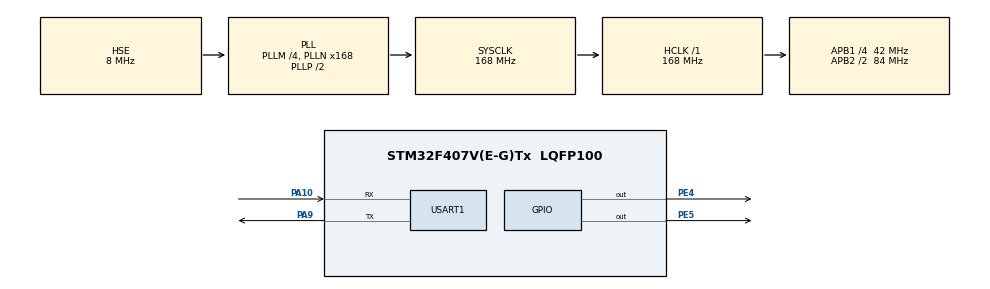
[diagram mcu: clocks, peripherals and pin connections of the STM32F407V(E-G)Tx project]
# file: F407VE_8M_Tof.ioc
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Mcu.Family=STM32F4
Mcu.Name=STM32F407V(E-G)Tx
Mcu.Package=LQFP100
NVIC.PriorityGroup=NVIC_PRIORITYGROUP_4
NVIC.USART1_IRQn=true\:0\:0\:false\:false\:true\:true\:true
PA10.Mode=Asynchronous
PA10.Signal=USART1_RX
PA13.Mode=Serial_Wire
PA13.Signal=SYS_JTMS-SWDIO
PA14.Mode=Serial_Wire
PA14.Signal=SYS_JTCK-SWCLK
PA9.Mode=Asynchronous
PA9.Signal=USART1_TX
PC14-OSC32_IN.Mode=LSE-External-Oscillator
PC14-OSC32_IN.Signal=RCC_OSC32_IN
PC15-OSC32_OUT.Mode=LSE-External-Oscillator
PC15-OSC32_OUT.Signal=RCC_OSC32_OUT
PE4.GPIO_ModeDefaultOutputPP=GPIO_MODE_OUTPUT_PP
PE4.GPIO_PuPd=GPIO_PULLUP
PE4.GPIO_Speed=GPIO_SPEED_FREQ_VERY_HIGH
PE4.PinState=GPIO_PIN_SET
PE4.Signal=GPIO_Output
PE5.GPIO_ModeDefaultOutputPP=GPIO_MODE_OUTPUT_PP
PE5.GPIO_PuPd=GPIO_PULLUP
PE5.GPIO_Speed=GPIO_SPEED_FREQ_VERY_HIGH
PE5.PinState=GPIO_PIN_SET
PE5.Signal=GPIO_Output
PH0-OSC_IN.Mode=HSE-External-Oscillator
PH0-OSC_IN.Signal=RCC_OSC_IN
PH1-OSC_OUT.Mode=HSE-External-Oscillator
PH1-OSC_OUT.Signal=RCC_OSC_OUT
ProjectManager.HeapSize=0x200
ProjectManager.StackSize=0x400
ProjectManager.TargetToolchain=MDK-ARM V5.27
RCC.48MHZClocksFreq_Value=84000000
RCC.AHBFreq_Value=168000000
RCC.APB1CLKDivider=RCC_HCLK_DIV4
RCC.APB1Freq_Value=42000000
RCC.APB1TimFreq_Value=84000000
RCC.APB2CLKDivider=RCC_HCLK_DIV2
RCC.APB2Freq_Value=84000000
RCC.APB2TimFreq_Value=168000000
RCC.CortexFreq_Value=168000000
RCC.HCLKFreq_Value=168000000
RCC.HSE_VALUE=8000000
RCC.HSI_VALUE=16000000
RCC.PLLM=4
RCC.PLLN=168
RCC.PLLSourceVirtual=RCC_PLLSOURCE_HSE
RCC.SYSCLKFreq_VALUE=168000000
RCC.SYSCLKSource=RCC_SYSCLKSOURCE_PLLCLK
RCC.VCOOutputFreq_Value=336000000
USART1.VirtualMode=VM_ASYNC
board=custom

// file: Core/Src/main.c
/* USER CODE BEGIN Header */
/**
  ******************************************************************************
  * @file           : main.c
  * @brief          : Main program body
  ******************************************************************************
  * @attention
  *
  * <h2><center>&copy; Copyright (c) 2021 STMicroelectronics.
  * All rights reserved.</center></h2>
  *
  * This software component is licensed by ST under BSD 3-Clause license,
  * the "License"; You may not use this file except in compliance with the
  * License. You may obtain a copy of the License at:
  *                        opensource.org/licenses/BSD-3-Clause
  *
  ******************************************************************************
  */
/* USER CODE END Header */
#include "main.h"
#include "usart.h"
#include "gpio.h"

/* USER CODE BEGIN Includes */
#include "DELAY/delay.h"
#include "OLED/oled.h"
#include "VL53L0X/myvl53l0x.h"
#include "VL6180X/myvl6180x.h"
#include "VL53L1X/myvl53l1x.h"
#include "VL53L1X/API/VL53L1X_api.h"
/* USER CODE END Includes */

void SystemClock_Config(void);

int main(void)
{

  /* MCU Configuration--------------------------------------------------------*/

  /* Reset of all peripherals, Initializes the Flash interface and the Systick. */
  HAL_Init();

  /* Configure the system clock */
  SystemClock_Config();

  /* Initialize all configured peripherals */
  MX_GPIO_Init();
  MX_USART1_UART_Init();
  /* USER CODE BEGIN 2 */
  Delay_Init(168);
  OLED_Init(GPIOB, 8, GPIOB, 9);
  MyVL53L0X_Init(MYVL53L0X_DEFAULT_ADDR, GPIOB, 6, GPIOB, 7);
  MyVL53L0X_SetSenseMode(VL53L0X_SENSE_DEFAULT);
  MyVL6180X_Init(MYVL6180X_DEFAULT_ADDR, GPIOB, 3, GPIOB, 5);
  MyVL53L1X_Init(MYVL53L1X_DEFAULT_ADDR, GPIOD, 6, GPIOD, 7);
  Delay_ms(100);
  /* USER CODE END 2 */

  /* Infinite loop */
  while (1)
  {

    /* USER CODE BEGIN 3 */
    OLED_ShowInt(0, 0, MyVL53L0X_GetDistance());
    OLED_ShowStr(OLED_cursorX, OLED_cursorY, "     ");
    OLED_ShowInt(0, 1, MyVL6180X_GetDistance());
    OLED_ShowStr(OLED_cursorX, OLED_cursorY, "     ");
    OLED_ShowInt(0, 2, MyVL6180X_GetLux());
    OLED_ShowStr(OLED_cursorX, OLED_cursorY, "     ");
    OLED_ShowInt(0, 3, MyVL53L1X_GetDistance());
    OLED_ShowStr(OLED_cursorX, OLED_cursorY, "     ");
  }
  /* USER CODE END 3 */
}

void SystemClock_Config(void)
{
  RCC_OscInitTypeDef RCC_OscInitStruct = {0};
  RCC_ClkInitTypeDef RCC_ClkInitStruct = {0};

  /** Configure the main internal regulator output voltage
  */
  __HAL_RCC_PWR_CLK_ENABLE();
  __HAL_PWR_VOLTAGESCALING_CONFIG(PWR_REGULATOR_VOLTAGE_SCALE1);
  /** Initializes the RCC Oscillators according to the specified parameters
  * in the RCC_OscInitTypeDef structure.
  */
  RCC_OscInitStruct.OscillatorType = RCC_OSCILLATORTYPE_HSE;
  RCC_OscInitStruct.HSEState = RCC_HSE_ON;
  RCC_OscInitStruct.PLL.PLLState = RCC_PLL_ON;
  RCC_OscInitStruct.PLL.PLLSource = RCC_PLLSOURCE_HSE;
  RCC_OscInitStruct.PLL.PLLM = 4;
  RCC_OscInitStruct.PLL.PLLN = 168;
  RCC_OscInitStruct.PLL.PLLP = RCC_PLLP_DIV2;
  RCC_OscInitStruct.PLL.PLLQ = 4;
  if (HAL_RCC_OscConfig(&RCC_OscInitStruct) != HAL_OK)
  {
    Error_Handler();
  }
  /** Initializes the CPU, AHB and APB buses clocks
  */
  RCC_ClkInitStruct.ClockType = RCC_CLOCKTYPE_HCLK|RCC_CLOCKTYPE_SYSCLK
                              |RCC_CLOCKTYPE_PCLK1|RCC_CLOCKTYPE_PCLK2;
  RCC_ClkInitStruct.SYSCLKSource = RCC_SYSCLKSOURCE_PLLCLK;
  RCC_ClkInitStruct.AHBCLKDivider = RCC_SYSCLK_DIV1;
  RCC_ClkInitStruct.APB1CLKDivider = RCC_HCLK_DIV4;
  RCC_ClkInitStruct.APB2CLKDivider = RCC_HCLK_DIV2;

  if (HAL_RCC_ClockConfig(&RCC_ClkInitStruct, FLASH_LATENCY_5) != HAL_OK)
  {
    Error_Handler();
  }
}

void Error_Handler(void)
{
  __disable_irq();
  while (1)
  {
  }
}

/************************ (C) COPYRIGHT STMicroelectronics *****END OF FILE****/
